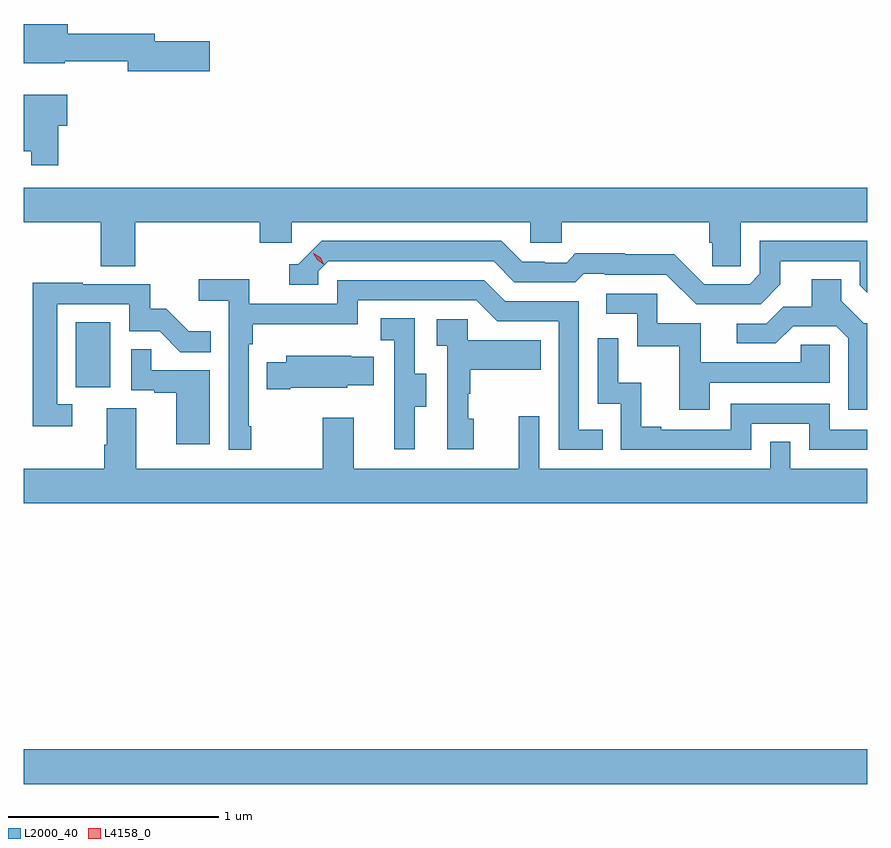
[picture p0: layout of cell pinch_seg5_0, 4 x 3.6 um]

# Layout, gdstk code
import gdstk
lib = gdstk.Library(unit=1e-6, precision=1e-09)
def R(c, l, rs):  # rectangles x0, y0, x1, y1
    for r in rs: c.add(gdstk.rectangle(r[:2], r[2:], *l))
def P(c, l, *ps):  # polygons
    for p in ps: c.add(gdstk.Polygon(p, *l))
L2000_40 = (2000, 40)
L4158_0 = (4158, 0)

pinch_seg5_0 = lib.new_cell('pinch_seg5_0')
R(pinch_seg5_0, L2000_40, [(1078.159,903.38,1082.159,903.544), (1078.406,905.262,1078.57,905.569)])
P(pinch_seg5_0, L2000_40, [(1079.041,906.903),(1078.78,906.903),(1078.78,906.937),(1078.367,906.937),(1078.367,906.984),(1078.159,906.984),(1078.159,906.797),(1078.354,906.797),(1078.354,906.808),(1078.652,906.808),(1078.652,906.761),(1079.041,906.761)],
  [(1078.322,906.502),(1078.366,906.502),(1078.366,906.649),(1078.159,906.649),(1078.159,906.38),(1078.194,906.38),(1078.194,906.315),(1078.322,906.315)],
  [(1078.688,906.044),(1079.279,906.044),(1079.279,905.946),(1079.43,905.946),(1079.43,906.044),(1080.561,906.044),(1080.561,905.946),(1080.711,905.946),(1080.711,906.044),(1081.409,906.044),(1081.409,905.946),(1081.423,905.946),(1081.423,905.836),(1081.56,905.836),(1081.56,906.044),(1082.159,906.044),(1082.159,906.208),(1078.159,906.208),(1078.159,906.044),(1078.523,906.044),(1078.523,905.836),(1078.688,905.836)],
  [(1081.747,905.749),(1081.747,905.859),(1082.124,905.859),(1082.124,905.745),(1082.159,905.71),(1082.159,905.955),(1081.65,905.955),(1081.65,905.799),(1081.602,905.751),(1081.386,905.751),(1081.244,905.893),(1081.008,905.893),(1081.008,905.896),(1080.775,905.896),(1080.733,905.853),(1080.63,905.853),(1080.63,905.856),(1080.523,905.856),(1080.424,905.955),(1079.571,905.955),(1079.46,905.844),(1079.417,905.844),(1079.417,905.748),(1079.556,905.748),(1079.556,905.811),(1079.604,905.859),(1080.387,905.859),(1080.486,905.76),(1080.775,905.76),(1080.814,905.799),(1080.913,905.799),(1080.913,905.796),(1081.206,905.796),(1081.347,905.655),(1081.653,905.655)],
  [(1079.239,905.077),(1079.226,905.077),(1079.226,905.465),(1079.246,905.465),(1079.246,905.561),(1079.742,905.561),(1079.742,905.673),(1080.306,905.673),(1080.405,905.574),(1080.696,905.574),(1080.696,904.965),(1080.905,904.965),(1080.905,905.061),(1080.792,905.061),(1080.792,905.67),(1080.442,905.67),(1080.343,905.769),(1079.646,905.769),(1079.646,905.658),(1079.228,905.658),(1079.228,905.774),(1078.989,905.774),(1078.989,905.672),(1079.13,905.672),(1079.13,904.965),(1079.239,904.965)],
  [(1082.159,905.565),(1082.142,905.565),(1082.035,905.672),(1082.035,905.774),(1081.895,905.774),(1081.895,905.642),(1081.76,905.642),(1081.68,905.562),(1081.539,905.562),(1081.539,905.469),(1081.726,905.469),(1081.807,905.55),(1082.013,905.55),(1082.07,905.493),(1082.07,905.154),(1082.159,905.154)],
  [(1078.39,905.181),(1078.317,905.181),(1078.317,905.655),(1078.659,905.655),(1078.659,905.526),(1078.803,905.526),(1078.901,905.428),(1079.045,905.428),(1079.045,905.527),(1078.941,905.527),(1078.834,905.634),(1078.758,905.634),(1078.758,905.751),(1078.439,905.751),(1078.439,905.756),(1078.201,905.756),(1078.201,905.076),(1078.39,905.076)],
  [(1081.411,905.283),(1081.98,905.283),(1081.98,905.463),(1081.843,905.463),(1081.843,905.379),(1081.369,905.379),(1081.369,905.565),(1081.164,905.565),(1081.164,905.706),(1080.921,905.706),(1080.921,905.61),(1081.068,905.61),(1081.068,905.457),(1081.267,905.457),(1081.267,905.154),(1081.411,905.154)],
  [(1080.013,905.17),(1080.067,905.17),(1080.067,905.325),(1080.012,905.325),(1080.012,905.588),(1079.853,905.588),(1079.853,905.485),(1079.916,905.485),(1079.916,905.181),(1079.915,905.181),(1079.915,904.968),(1080.013,904.968)],
  [(1080.292,905.112),(1080.267,905.112),(1080.267,905.231),(1080.277,905.231),(1080.277,905.345),(1080.611,905.345),(1080.611,905.485),(1080.264,905.485),(1080.264,905.583),(1080.117,905.583),(1080.117,905.459),(1080.168,905.459),(1080.168,904.968),(1080.292,904.968)],
  [(1081.608,905.088),(1081.884,905.088),(1081.884,904.965),(1082.159,904.965),(1082.159,905.061),(1081.98,905.061),(1081.98,905.184),(1081.512,905.184),(1081.512,905.061),(1081.183,905.061),(1081.183,905.074),(1081.088,905.074),(1081.088,905.282),(1080.978,905.282),(1080.978,905.494),(1080.882,905.494),(1080.882,905.184),(1080.99,905.184),(1080.99,904.965),(1081.608,904.965)],
  [(1079.041,905.343),(1078.763,905.343),(1078.763,905.441),(1078.668,905.441),(1078.668,905.247),(1078.779,905.247),(1078.779,905.235),(1078.883,905.235),(1078.883,904.992),(1079.041,904.992)],
  [(1079.422,905.258),(1079.694,905.258),(1079.694,905.27),(1079.819,905.27),(1079.819,905.407),(1079.711,905.407),(1079.711,905.41),(1079.405,905.41),(1079.405,905.38),(1079.311,905.38),(1079.311,905.251),(1079.422,905.251)],
  [(1082.159,904.876),(1081.794,904.876),(1081.794,905.003),(1081.698,905.003),(1081.698,904.876),(1080.603,904.876),(1080.603,905.125),(1080.506,905.125),(1080.506,904.876),(1079.725,904.876),(1079.725,905.116),(1079.578,905.116),(1079.578,904.876),(1078.693,904.876),(1078.693,905.162),(1078.553,905.162),(1078.553,904.988),(1078.541,904.988),(1078.541,904.876),(1078.159,904.876),(1078.159,904.712),(1082.159,904.712)])
P(pinch_seg5_0, L4158_0, [(1079.58,905.845),(1079.55,905.865),(1079.533,905.897),(1079.533,905.898),(1079.534,905.898),(1079.564,905.878),(1079.581,905.846),(1079.581,905.845)])

lib.write_gds('pinch_seg5_0.gds')
